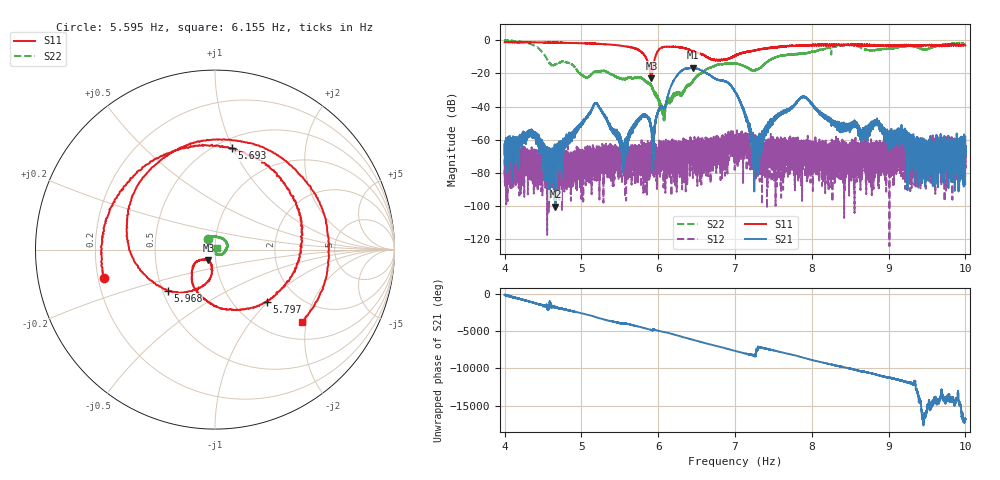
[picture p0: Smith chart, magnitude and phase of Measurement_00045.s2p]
!Created with skrf (http://scikit-rf.org).
# Hz S RI R 50.0
!freq ReS11 ImS11 ReS21 ImS21 ReS12 ImS12 ReS22 ImS22
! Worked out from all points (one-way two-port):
!   14001 points, 4 Hz to 10 Hz, reference 50 ohm
!   highest |S21| = -16.62 dB at 6.449 Hz (marker M1); lowest = -100.4 dB at 4.662 Hz (marker M2)
!   lowest |S11| = -23.0 dB at 5.911 Hz (marker M3), VSWR 1.15, Z = 46.2 - j5.61 ohm
!   |S11| at or under -10 dB: 5.834 Hz to 5.962 Hz (128.1 mHz wide, 2.17 % of centre); 6.627 Hz to 6.968 Hz (341.3 mHz wide, 5.02 % of centre); 6.977617 Hz to 6.978574 Hz (957.2 uHz wide, 0.0137 % of centre) (the widest 3 of 10)
!   |S22| runs from -48.3 to -0.2 dB; largest |S21 - S12| = 0.15
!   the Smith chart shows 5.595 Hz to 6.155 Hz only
!   S11 on the Smith chart (normalised r, x): 5.595 Hz: 0.22, -0.12; 5.693 Hz: 0.59, +0.99; 5.797 Hz: 1.41, -0.99; 5.968 Hz: 0.53, -0.28; 6.155 Hz: 1.40, -1.88
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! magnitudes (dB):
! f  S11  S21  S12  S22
! 4 Hz  -1.2  -69.6  -81.6  -0.3
! 4.339 Hz  -1.3  -57.3  -71.5  -2.3
! 4.561 Hz  -1.5  -70.6  -80.7  -12.0
! 4.662 Hz  -1.5  -100.4  -72.5  -14.6
! 5 Hz  -1.8  -50.9  -70.9  -20.8
! 5.196 Hz  -2.2  -38.1  -71.2  -18.9
! 5.54 Hz  -3.5  -66.9  -67.9  -23.5
! 5.595 Hz  -3.9  -62.2  -76.7  -22.9
! 5.693 Hz  -4.8  -51.8  -67.4  -22.8
! 5.797 Hz  -7.7  -45.2  -67.2  -23.5
! 5.911 Hz  -23.0  -53.3  -65.3  -27.5
! 5.968 Hz  -9.1  -49.2  -62.9  -32.8
! 6 Hz  -6.2  -42.5  -71.2  -35.5
! 6.155 Hz  -4.0  -29.1  -69.7  -37.1
! 6.449 Hz  -6.6  -16.6  -70.7  -25.1
! 7 Hz  -9.4  -31.0  -57.7  -13.9
! 7.273 Hz  -6.0  -75.8  -61.2  -18.0
! 7.555 Hz  -4.3  -45.7  -78.1  -10.0
! 8 Hz  -3.2  -38.7  -67.6  -6.9
! 9 Hz  -3.3  -59.5  -67.3  -5.0
! 9.451 Hz  -3.3  -65.4  -62.4  -5.3
! 10 Hz  -3.3  -63.9  -77.0  -3.0
